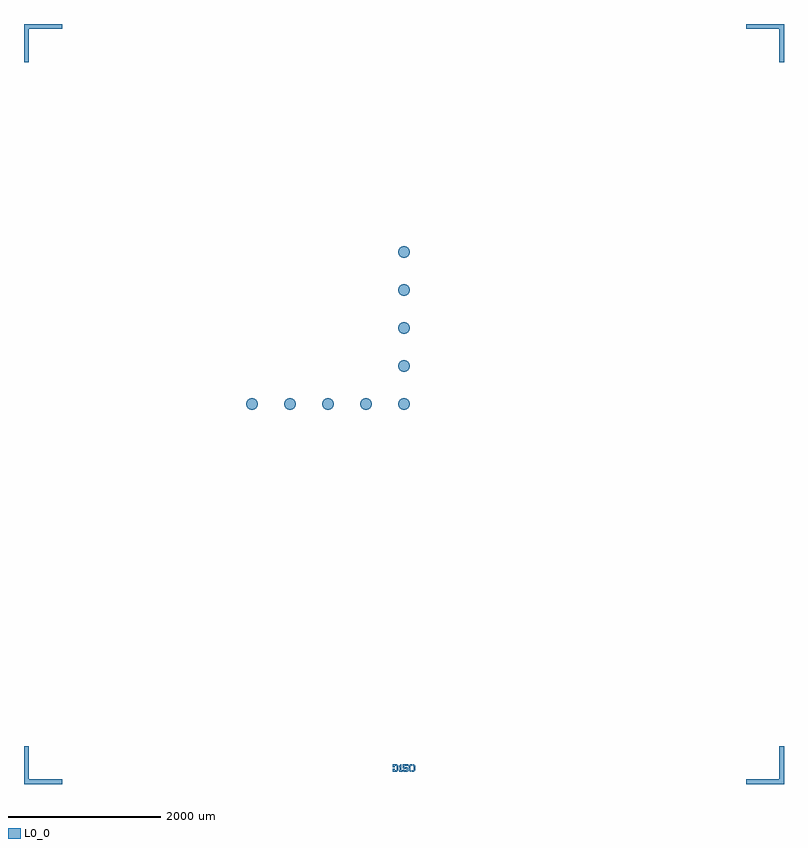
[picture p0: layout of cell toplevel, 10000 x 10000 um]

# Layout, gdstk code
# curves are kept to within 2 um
import gdstk
lib = gdstk.Library(unit=1e-6, precision=1e-09)
def P(c, l, *ps):  # polygons
    for p in ps: c.add(gdstk.Polygon(p, *l))
L0_0 = (0, 0)

circle = lib.new_cell('circle')
P(circle, L0_0, [(75,0),(69.291,28.701),(53.033,53.033),(28.701,69.291),(0,75),(-28.701,69.291),(-53.033,53.033),(-69.291,28.701),(-75,0),(-69.291,-28.701),(-53.033,-53.033),(-28.701,-69.291),(0,-75),(28.701,-69.291),(53.033,-53.033),(69.291,-28.701)])

circle001 = lib.new_cell('circle001')
P(circle001, L0_0, [(-425,0),(-430.709,28.701),(-446.967,53.033),(-471.299,69.291),(-500,75),(-528.701,69.291),(-553.033,53.033),(-569.291,28.701),(-575,0),(-569.291,-28.701),(-553.033,-53.033),(-528.701,-69.291),(-500,-75),(-471.299,-69.291),(-446.967,-53.033),(-430.709,-28.701)])

circle002 = lib.new_cell('circle002')
P(circle002, L0_0, [(-925,0),(-930.709,28.701),(-946.967,53.033),(-971.299,69.291),(-1000,75),(-1028.701,69.291),(-1053.033,53.033),(-1069.291,28.701),(-1075,0),(-1069.291,-28.701),(-1053.033,-53.033),(-1028.701,-69.291),(-1000,-75),(-971.299,-69.291),(-946.967,-53.033),(-930.709,-28.701)])

circle003 = lib.new_cell('circle003')
P(circle003, L0_0, [(-1425,0),(-1430.709,28.701),(-1446.967,53.033),(-1471.299,69.291),(-1500,75),(-1528.701,69.291),(-1553.033,53.033),(-1569.291,28.701),(-1575,0),(-1569.291,-28.701),(-1553.033,-53.033),(-1528.701,-69.291),(-1500,-75),(-1471.299,-69.291),(-1446.967,-53.033),(-1430.709,-28.701)])

circle004 = lib.new_cell('circle004')
P(circle004, L0_0, [(-1925,0),(-1930.709,28.701),(-1946.967,53.033),(-1971.299,69.291),(-2000,75),(-2028.701,69.291),(-2053.033,53.033),(-2069.291,28.701),(-2075,0),(-2069.291,-28.701),(-2053.033,-53.033),(-2028.701,-69.291),(-2000,-75),(-1971.299,-69.291),(-1946.967,-53.033),(-1930.709,-28.701)])

circle005 = lib.new_cell('circle005')
P(circle005, L0_0, [(75,500),(69.291,528.701),(53.033,553.033),(28.701,569.291),(0,575),(-28.701,569.291),(-53.033,553.033),(-69.291,528.701),(-75,500),(-69.291,471.299),(-53.033,446.967),(-28.701,430.709),(0,425),(28.701,430.709),(53.033,446.967),(69.291,471.299)])

circle006 = lib.new_cell('circle006')
P(circle006, L0_0, [(75,1000),(69.291,1028.701),(53.033,1053.033),(28.701,1069.291),(0,1075),(-28.701,1069.291),(-53.033,1053.033),(-69.291,1028.701),(-75,1000),(-69.291,971.299),(-53.033,946.967),(-28.701,930.709),(0,925),(28.701,930.709),(53.033,946.967),(69.291,971.299)])

circle007 = lib.new_cell('circle007')
P(circle007, L0_0, [(75,1500),(69.291,1528.701),(53.033,1553.033),(28.701,1569.291),(0,1575),(-28.701,1569.291),(-53.033,1553.033),(-69.291,1528.701),(-75,1500),(-69.291,1471.299),(-53.033,1446.967),(-28.701,1430.709),(0,1425),(28.701,1430.709),(53.033,1446.967),(69.291,1471.299)])

circle008 = lib.new_cell('circle008')
P(circle008, L0_0, [(75,2000),(69.291,2028.701),(53.033,2053.033),(28.701,2069.291),(0,2075),(-28.701,2069.291),(-53.033,2053.033),(-69.291,2028.701),(-75,2000),(-69.291,1971.299),(-53.033,1946.967),(-28.701,1930.709),(0,1925),(28.701,1930.709),(53.033,1946.967),(69.291,1971.299)])

text = lib.new_cell('text')
P(text, L0_0, [(10,0),(10,40),(30,40),(30,20),(50,20),(60,30),(60,70),(50,80),(30,80),(30,60),(10,60),(10,100),(60,100),(80,80),(80,20),(60,0)],
  [(100,60),(90,60),(90,80),(110,100),(120,100),(120,20),(130,20),(130,0),(90,0),(90,20),(100,20)],
  [(210,80),(160,80),(160,60),(200,60),(210,50),(210,10),(200,0),(150,0),(140,10),(140,30),(160,30),(160,20),(190,20),(190,40),(150,40),(140,50),(140,100),(210,100)],
  [(250,80),(240,70),(240,30),(250,20),(245,0),(240,0),(220,20),(220,80),(240,100),(263,100),(258,80),(250,80)],
  [(270,20),(280,30),(280,70),(270,80),(275,100),(280,100),(300,80),(300,20),(280,0),(257,0),(262,20),(270,20)])

die = lib.new_cell('die')
P(die, L0_0, [(5000,5000),(5000,4500),(4940,4500),(4940,4940),(4500,4940),(4500,5000)],
  [(-5000,5000),(-5000,4500),(-4940,4500),(-4940,4940),(-4500,4940),(-4500,5000)],
  [(5000,-5000),(5000,-4500),(4940,-4500),(4940,-4940),(4500,-4940),(4500,-5000)],
  [(-5000,-5000),(-5000,-4500),(-4940,-4500),(-4940,-4940),(-4500,-4940),(-4500,-5000)])
die.add(gdstk.Reference(text, (-155,-4840)))

toplevel = lib.new_cell('toplevel')
toplevel.add(gdstk.Reference(circle, (0,0)))
toplevel.add(gdstk.Reference(circle001, (0,0)))
toplevel.add(gdstk.Reference(circle002, (0,0)))
toplevel.add(gdstk.Reference(circle003, (0,0)))
toplevel.add(gdstk.Reference(circle004, (0,0)))
toplevel.add(gdstk.Reference(circle005, (0,0)))
toplevel.add(gdstk.Reference(circle006, (0,0)))
toplevel.add(gdstk.Reference(circle007, (0,0)))
toplevel.add(gdstk.Reference(circle008, (0,0)))
toplevel.add(gdstk.Reference(die, (0,0)))

lib.write_gds('toplevel.gds')
